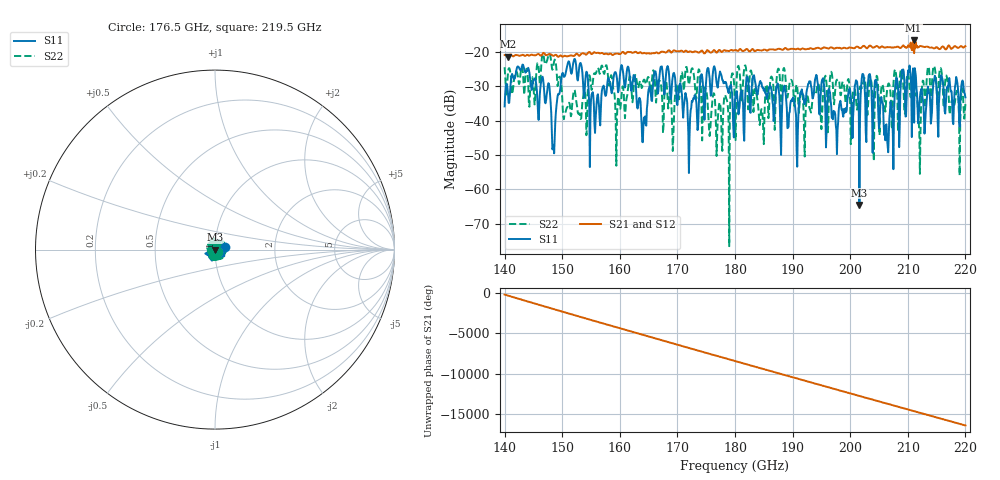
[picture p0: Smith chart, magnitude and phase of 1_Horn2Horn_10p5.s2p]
!Keysight Technologies,N5224B,MY60213280,A.17.35.14
!Date: Tuesday, May 26, 2026 17:05:40
!Correction: S11(C  2-Port  )
!S21(C  2-Port  )
!S12(C  2-Port  )
!S22(C  2-Port  )
!S2P File: Measurements: S11, S21, S12, S22:
# Hz S  dB  R 50
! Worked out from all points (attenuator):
!   801 points, 140 GHz to 220 GHz, reference 50 ohm
!   highest |S21| = -16.63 dB at 211 GHz (marker M1); lowest = -21.4 dB at 140.6 GHz (marker M2)
!   lowest |S11| = -64.5 dB at 201.6 GHz (marker M3), VSWR 1.00, Z = 50 - j0.0569 ohm
!   |S11| at or under -10 dB: start of sweep to end of sweep
!   |S22| runs from -76.5 to -20.5 dB; largest |S21 - S12| = 0.036
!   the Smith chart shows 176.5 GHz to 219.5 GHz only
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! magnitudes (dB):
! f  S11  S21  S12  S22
! 140 GHz  -35.8  -20.9  -20.9  -24.4
! 140.6 GHz  -32.5  -21.4  -21.4  -25.8
! 146.5 GHz  -27.3  -20.8  -20.7  -21.2
! 148.5 GHz  -47.2  -21.1  -21.1  -23.7
! 150.9 GHz  -23.8  -21.3  -21.2  -36.0
! 153.4 GHz  -24.5  -20.4  -20.4  -36.9
! 155.2 GHz  -32.0  -20.6  -20.5  -30.6
! 161.5 GHz  -24.5  -20.0  -20.0  -29.8
! 164.2 GHz  -39.1  -20.2  -20.3  -28.0
! 166.7 GHz  -31.3  -20.4  -20.4  -28.2
! 169.2 GHz  -27.1  -19.8  -19.7  -48.8
! 172.1 GHz  -44.9  -19.8  -19.8  -28.7
! 176.4 GHz  -24.1  -19.5  -19.5  -32.2
! 180 GHz  -34.1  -19.4  -19.4  -38.2
! 183.3 GHz  -26.8  -19.6  -19.7  -35.2
! 190.7 GHz  -48.7  -19.2  -19.2  -29.5
! 193.4 GHz  -32.6  -19.1  -19.1  -34.6
! 201.6 GHz  -64.5  -18.8  -18.8  -30.6
! 203.3 GHz  -26.5  -18.2  -18.2  -29.9
! 206.7 GHz  -44.4  -18.6  -18.6  -29.1
! 211 GHz  -31.1  -16.6  -18.6  -31.0
! 220 GHz  -33.2  -18.3  -18.3  -35.2
